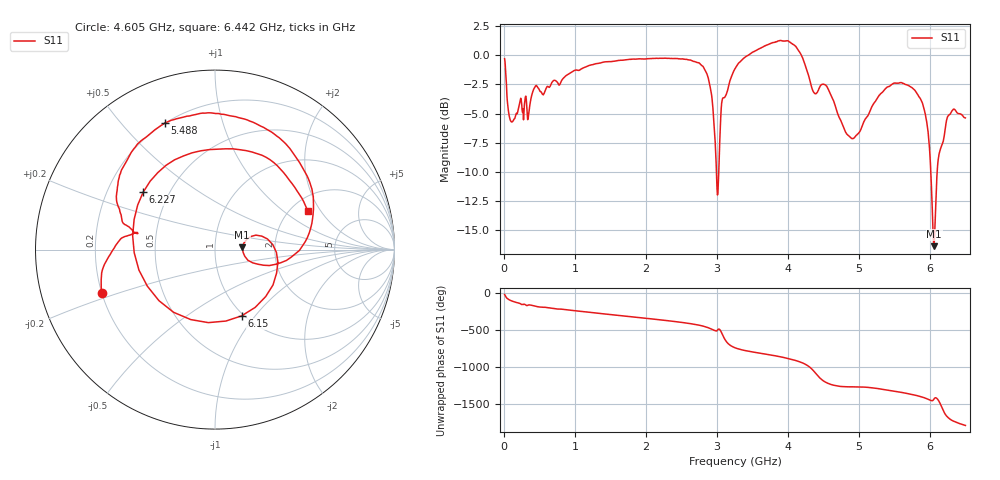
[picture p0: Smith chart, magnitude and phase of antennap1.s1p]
!Keysight Technologies,P9371A,MY57211172,A.13.10.05
!Date: Monday, March 30, 2026 15:12:22
!Correction: S11(Full 2 Port(1,2))
!S1P File: Measurement: S11:
# Hz S  dB  R 50
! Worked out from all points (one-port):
!   1001 points, 10 MHz to 6.5 GHz, reference 50 ohm
!   lowest |S11| = -16.3 dB at 6.059 GHz (marker M1), VSWR 1.36, Z = 67.9 + j1.65 ohm
!   |S11| at or under -10 dB: 2.993 GHz to 3.026 GHz (33.2 MHz wide, 1.1 % of centre); 6.013 GHz to 6.102 GHz (89.37 MHz wide, 1.48 % of centre)
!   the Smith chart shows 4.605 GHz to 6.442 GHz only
!   S11 on the Smith chart (normalised r, x): 4.605 GHz: 0.20, -0.18; 5.488 GHz: 0.20, +0.66; 6.15 GHz: 0.98, -0.86; 6.227 GHz: 0.36, +0.31; 6.442 GHz: 2.46, +1.53
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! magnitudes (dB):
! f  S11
! 10 MHz  -0.3
! 74.9 MHz  -5.2
! 113.8 MHz  -5.7
! 354 MHz  -4.8
! 444.8 MHz  -2.6
! 821.2 MHz  -2.1
! 1.633 GHz  -0.4
! 2.444 GHz  -0.3
! 2.853 GHz  -1.5
! 2.924 GHz  -3.4
! 3.008 GHz  -12.0
! 3.086 GHz  -3.7
! 3.255 GHz  -1.1
! 3.696 GHz  0.9
! 4.066 GHz  0.9
! 4.365 GHz  -3.2
! 4.605 GHz  -3.4
! 4.878 GHz  -7.0
! 5.488 GHz  -2.4
! 5.689 GHz  -2.6
! 5.935 GHz  -5.1
! 5.981 GHz  -7.0
! 6.033 GHz  -13.0
! 6.059 GHz  -16.3
! 6.15 GHz  -8.0
! 6.227 GHz  -5.8
! 6.442 GHz  -5.1
! 6.5 GHz  -5.4
